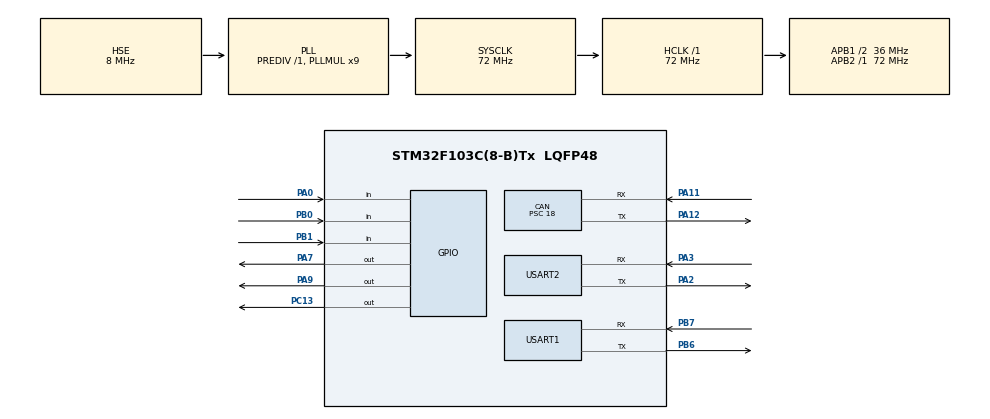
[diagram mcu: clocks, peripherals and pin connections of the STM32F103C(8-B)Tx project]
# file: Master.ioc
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CAN.ABOM=ENABLE
CAN.AWUM=ENABLE
CAN.BS1=CAN_BS1_13TQ
CAN.BS2=CAN_BS2_2TQ
CAN.CalculateTimeBit=1500
CAN.CalculateTimeQuantum=500.0
CAN.NART=ENABLE
CAN.Prescaler=18
Dma.Request0=USART1_RX
Dma.Request1=USART2_RX
Dma.USART1_RX.0.Direction=DMA_PERIPH_TO_MEMORY
Dma.USART1_RX.0.Instance=DMA1_Channel5
Dma.USART1_RX.0.MemDataAlignment=DMA_MDATAALIGN_BYTE
Dma.USART1_RX.0.MemInc=DMA_MINC_ENABLE
Dma.USART1_RX.0.Mode=DMA_CIRCULAR
Dma.USART1_RX.0.PeriphDataAlignment=DMA_PDATAALIGN_BYTE
Dma.USART1_RX.0.PeriphInc=DMA_PINC_DISABLE
Dma.USART1_RX.0.Priority=DMA_PRIORITY_MEDIUM
Dma.USART2_RX.1.Direction=DMA_PERIPH_TO_MEMORY
Dma.USART2_RX.1.Instance=DMA1_Channel6
Dma.USART2_RX.1.MemDataAlignment=DMA_MDATAALIGN_BYTE
Dma.USART2_RX.1.MemInc=DMA_MINC_ENABLE
Dma.USART2_RX.1.Mode=DMA_CIRCULAR
Dma.USART2_RX.1.PeriphDataAlignment=DMA_PDATAALIGN_BYTE
Dma.USART2_RX.1.PeriphInc=DMA_PINC_DISABLE
Dma.USART2_RX.1.Priority=DMA_PRIORITY_LOW
FREERTOS.Tasks01=defaultTask,0,128,StartDefaultTask,Default,NULL
Mcu.Family=STM32F1
Mcu.Name=STM32F103C(8-B)Tx
Mcu.Package=LQFP48
Mcu.UserConstants=PWM_FREQUENCY,6000
NVIC.CAN1_RX1_IRQn=true\:5\:0\:false\:false\:true\:true\:true
NVIC.DMA1_Channel5_IRQn=true\:5\:0\:false\:false\:true\:true\:false
NVIC.DMA1_Channel6_IRQn=true\:5\:0\:false\:false\:true\:true\:false
NVIC.PriorityGroup=NVIC_PRIORITYGROUP_4
NVIC.TIM2_IRQn=true\:0\:0\:false\:false\:true\:false\:false
NVIC.TimeBase=TIM2_IRQn
NVIC.TimeBaseIP=TIM2
NVIC.USB_HP_CAN1_TX_IRQn=true\:5\:0\:false\:false\:true\:true\:true
NVIC.USB_LP_CAN1_RX0_IRQn=true\:5\:0\:false\:false\:true\:true\:true
PA0-WKUP.GPIO_PuPd=GPIO_PULLDOWN
PA0-WKUP.Signal=GPIO_Input
PA11.Mode=Master
PA11.Signal=CAN_RX
PA12.Mode=Master
PA12.Signal=CAN_TX
PA13.Mode=Serial_Wire
PA13.Signal=SYS_JTMS-SWDIO
PA14.Mode=Serial_Wire
PA14.Signal=SYS_JTCK-SWCLK
PA2.Mode=Asynchronous
PA2.Signal=USART2_TX
PA3.Mode=Asynchronous
PA3.Signal=USART2_RX
PA7.Signal=GPIO_Output
PA9.GPIO_ModeDefaultOutputPP=GPIO_MODE_OUTPUT_PP
PA9.GPIO_PuPd=GPIO_NOPULL
PA9.PinState=GPIO_PIN_SET
PA9.Signal=GPIO_Output
PB0.GPIO_PuPd=GPIO_PULLUP
PB0.Signal=GPIO_Input
PB1.GPIO_PuPd=GPIO_PULLUP
PB1.Signal=GPIO_Input
PB6.Mode=Asynchronous
PB6.Signal=USART1_TX
PB7.Mode=Asynchronous
PB7.Signal=USART1_RX
PC13-TAMPER-RTC.Signal=GPIO_Output
PD0-OSC_IN.Mode=HSE-External-Oscillator
PD0-OSC_IN.Signal=RCC_OSC_IN
PD1-OSC_OUT.Mode=HSE-External-Oscillator
PD1-OSC_OUT.Signal=RCC_OSC_OUT
ProjectManager.HeapSize=0x200
ProjectManager.StackSize=0x400
ProjectManager.TargetToolchain=EWARM
RCC.AHBFreq_Value=72000000
RCC.APB1CLKDivider=RCC_HCLK_DIV2
RCC.APB1Freq_Value=36000000
RCC.APB1TimFreq_Value=72000000
RCC.APB2Freq_Value=72000000
RCC.APB2TimFreq_Value=72000000
RCC.HCLKFreq_Value=72000000
RCC.PLLMUL=RCC_PLL_MUL9
RCC.PLLSourceVirtual=RCC_PLLSOURCE_HSE
RCC.SYSCLKFreq_VALUE=72000000
RCC.SYSCLKSource=RCC_SYSCLKSOURCE_PLLCLK
RCC.USBFreq_Value=72000000
USART1.VirtualMode=VM_ASYNC
USART2.VirtualMode=VM_ASYNC
VP_FREERTOS_VS_ENABLE.Mode=Enabled
VP_SYS_VS_tim2.Mode=TIM2
board=custom

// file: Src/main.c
/**
  ******************************************************************************
  * @file           : main.c
  * @brief          : Main program body
  ******************************************************************************
  * This notice applies to any and all portions of this file
  * that are not between comment pairs USER CODE BEGIN and
  * USER CODE END. Other portions of this file, whether
  * inserted by the user or by software development tools
  * are owned by their respective copyright owners.
  *
  * Copyright (c) 2018 STMicroelectronics International N.V.
  * All rights reserved.
  *
  * Redistribution and use in source and binary forms, with or without
  * modification, are permitted, provided that the following conditions are met:
  *
  * 1. Redistribution of source code must retain the above copyright notice,
  *    this list of conditions and the following disclaimer.
  * 2. Redistributions in binary form must reproduce the above copyright notice,
  *    this list of conditions and the following disclaimer in the documentation
  *    and/or other materials provided with the distribution.
  * 3. Neither the name of STMicroelectronics nor the names of other
  *    contributors to this software may be used to endorse or promote products
  *    derived from this software without specific written permission.
  * 4. This software, including modifications and/or derivative works of this
  *    software, must execute solely and exclusively on microcontroller or
  *    microprocessor devices manufactured by or for STMicroelectronics.
  * 5. Redistribution and use of this software other than as permitted under
  *    this license is void and will automatically terminate your rights under
  *    this license.
  *
  * THIS SOFTWARE IS PROVIDED BY STMICROELECTRONICS AND CONTRIBUTORS "AS IS"
  * AND ANY EXPRESS, IMPLIED OR STATUTORY WARRANTIES, INCLUDING, BUT NOT
  * LIMITED TO, THE IMPLIED WARRANTIES OF MERCHANTABILITY, FITNESS FOR A
  * PARTICULAR PURPOSE AND NON-INFRINGEMENT OF THIRD PARTY INTELLECTUAL PROPERTY
  * RIGHTS ARE DISCLAIMED TO THE FULLEST EXTENT PERMITTED BY LAW. IN NO EVENT
  * SHALL STMICROELECTRONICS OR CONTRIBUTORS BE LIABLE FOR ANY DIRECT, INDIRECT,
  * INCIDENTAL, SPECIAL, EXEMPLARY, OR CONSEQUENTIAL DAMAGES (INCLUDING, BUT NOT
  * LIMITED TO, PROCUREMENT OF SUBSTITUTE GOODS OR SERVICES; LOSS OF USE, DATA,
  * OR PROFITS; OR BUSINESS INTERRUPTION) HOWEVER CAUSED AND ON ANY THEORY OF
  * LIABILITY, WHETHER IN CONTRACT, STRICT LIABILITY, OR TORT (INCLUDING
  * NEGLIGENCE OR OTHERWISE) ARISING IN ANY WAY OUT OF THE USE OF THIS SOFTWARE,
  * EVEN IF ADVISED OF THE POSSIBILITY OF SUCH DAMAGE.
  *
  ******************************************************************************
  */
#include "main.h"
#include "stm32f1xx_hal.h"
#include "cmsis_os.h"

/* USER CODE BEGIN Includes */
#include "control.h"
/* USER CODE END Includes */

CAN_HandleTypeDef hcan;

UART_HandleTypeDef huart1;
UART_HandleTypeDef huart2;
DMA_HandleTypeDef hdma_usart1_rx;
DMA_HandleTypeDef hdma_usart2_rx;

osThreadId defaultTaskHandle;

/* USER CODE BEGIN PV */
/* Private variables ---------------------------------------------------------*/
Master_TypeDef Master;
/* USER CODE END PV */

void SystemClock_Config(void);
static void MX_GPIO_Init(void);
static void MX_DMA_Init(void);
static void MX_CAN_Init(void);
static void MX_USART1_UART_Init(void);
static void MX_USART2_UART_Init(void);
void StartDefaultTask(void const * argument);

/* USER CODE BEGIN PFP */
/* Private function prototypes -----------------------------------------------*/
static void CAN_Filter_Init(void);
/* USER CODE END PFP */

int main(void)
{

  /* MCU Configuration----------------------------------------------------------*/

  /* Reset of all peripherals, Initializes the Flash interface and the Systick. */
  HAL_Init();

  /* Configure the system clock */
  SystemClock_Config();

  /* Initialize all configured peripherals */
  MX_GPIO_Init();
  MX_DMA_Init();
  MX_CAN_Init();
  MX_USART1_UART_Init();
  MX_USART2_UART_Init();
  /* USER CODE BEGIN 2 */
  CAN_Filter_Init();
  Master_init(&Master);
  HAL_CAN_Receive_IT(&hcan, CAN_FIFO0);
  /* USER CODE END 2 */

  /* Create the thread(s) */
  /* definition and creation of defaultTask */
  osThreadDef(defaultTask, StartDefaultTask, osPriorityNormal, 0, 128);
  defaultTaskHandle = osThreadCreate(osThread(defaultTask), NULL);

  /* Start scheduler */
  osKernelStart();

  /* We should never get here as control is now taken by the scheduler */

  /* Infinite loop */
  while (1)
  {

  }

}

void SystemClock_Config(void)
{

  RCC_OscInitTypeDef RCC_OscInitStruct;
  RCC_ClkInitTypeDef RCC_ClkInitStruct;

    /**Initializes the CPU, AHB and APB busses clocks
    */
  RCC_OscInitStruct.OscillatorType = RCC_OSCILLATORTYPE_HSE;
  RCC_OscInitStruct.HSEState = RCC_HSE_ON;
  RCC_OscInitStruct.HSEPredivValue = RCC_HSE_PREDIV_DIV1;
  RCC_OscInitStruct.HSIState = RCC_HSI_ON;
  RCC_OscInitStruct.PLL.PLLState = RCC_PLL_ON;
  RCC_OscInitStruct.PLL.PLLSource = RCC_PLLSOURCE_HSE;
  RCC_OscInitStruct.PLL.PLLMUL = RCC_PLL_MUL9;
  if (HAL_RCC_OscConfig(&RCC_OscInitStruct) != HAL_OK)
  {
    _Error_Handler(__FILE__, __LINE__);
  }

    /**Initializes the CPU, AHB and APB busses clocks
    */
  RCC_ClkInitStruct.ClockType = RCC_CLOCKTYPE_HCLK|RCC_CLOCKTYPE_SYSCLK
                              |RCC_CLOCKTYPE_PCLK1|RCC_CLOCKTYPE_PCLK2;
  RCC_ClkInitStruct.SYSCLKSource = RCC_SYSCLKSOURCE_PLLCLK;
  RCC_ClkInitStruct.AHBCLKDivider = RCC_SYSCLK_DIV1;
  RCC_ClkInitStruct.APB1CLKDivider = RCC_HCLK_DIV2;
  RCC_ClkInitStruct.APB2CLKDivider = RCC_HCLK_DIV1;

  if (HAL_RCC_ClockConfig(&RCC_ClkInitStruct, FLASH_LATENCY_2) != HAL_OK)
  {
    _Error_Handler(__FILE__, __LINE__);
  }

    /**Configure the Systick interrupt time
    */
  HAL_SYSTICK_Config(HAL_RCC_GetHCLKFreq()/1000);

    /**Configure the Systick
    */
  HAL_SYSTICK_CLKSourceConfig(SYSTICK_CLKSOURCE_HCLK);

  /* SysTick_IRQn interrupt configuration */
  HAL_NVIC_SetPriority(SysTick_IRQn, 15, 0);
}

/* CAN init function */
static void MX_CAN_Init(void)
{

  hcan.Instance = CAN1;
  hcan.Init.Prescaler = 18;
  hcan.Init.Mode = CAN_MODE_NORMAL;
  hcan.Init.SJW = CAN_SJW_1TQ;
  hcan.Init.BS1 = CAN_BS1_13TQ;
  hcan.Init.BS2 = CAN_BS2_2TQ;
  hcan.Init.TTCM = DISABLE;
  hcan.Init.ABOM = ENABLE;
  hcan.Init.AWUM = ENABLE;
  hcan.Init.NART = ENABLE;
  hcan.Init.RFLM = DISABLE;
  hcan.Init.TXFP = DISABLE;
  if (HAL_CAN_Init(&hcan) != HAL_OK)
  {
    _Error_Handler(__FILE__, __LINE__);
  }

}

/* USART1 init function */
static void MX_USART1_UART_Init(void)
{

  huart1.Instance = USART1;
  huart1.Init.BaudRate = 115200;
  huart1.Init.WordLength = UART_WORDLENGTH_8B;
  huart1.Init.StopBits = UART_STOPBITS_1;
  huart1.Init.Parity = UART_PARITY_NONE;
  huart1.Init.Mode = UART_MODE_TX_RX;
  huart1.Init.HwFlowCtl = UART_HWCONTROL_NONE;
  huart1.Init.OverSampling = UART_OVERSAMPLING_16;
  if (HAL_UART_Init(&huart1) != HAL_OK)
  {
    _Error_Handler(__FILE__, __LINE__);
  }

}

/* USART2 init function */
static void MX_USART2_UART_Init(void)
{

  huart2.Instance = USART2;
  huart2.Init.BaudRate = 115200;
  huart2.Init.WordLength = UART_WORDLENGTH_8B;
  huart2.Init.StopBits = UART_STOPBITS_1;
  huart2.Init.Parity = UART_PARITY_NONE;
  huart2.Init.Mode = UART_MODE_TX_RX;
  huart2.Init.HwFlowCtl = UART_HWCONTROL_NONE;
  huart2.Init.OverSampling = UART_OVERSAMPLING_16;
  if (HAL_UART_Init(&huart2) != HAL_OK)
  {
    _Error_Handler(__FILE__, __LINE__);
  }

}

static void MX_DMA_Init(void)
{
  /* DMA controller clock enable */
  __HAL_RCC_DMA1_CLK_ENABLE();

  /* DMA interrupt init */
  /* DMA1_Channel5_IRQn interrupt configuration */
  HAL_NVIC_SetPriority(DMA1_Channel5_IRQn, 5, 0);
  HAL_NVIC_EnableIRQ(DMA1_Channel5_IRQn);
  /* DMA1_Channel6_IRQn interrupt configuration */
  HAL_NVIC_SetPriority(DMA1_Channel6_IRQn, 5, 0);
  HAL_NVIC_EnableIRQ(DMA1_Channel6_IRQn);

}

/** Configure pins as
        * Analog
        * Input
        * Output
        * EVENT_OUT
        * EXTI
*/
static void MX_GPIO_Init(void)
{

  GPIO_InitTypeDef GPIO_InitStruct;

  /* GPIO Ports Clock Enable */
  __HAL_RCC_GPIOC_CLK_ENABLE();
  __HAL_RCC_GPIOD_CLK_ENABLE();
  __HAL_RCC_GPIOA_CLK_ENABLE();
  __HAL_RCC_GPIOB_CLK_ENABLE();

  /*Configure GPIO pin Output Level */
  HAL_GPIO_WritePin(GPIOC, GPIO_PIN_13, GPIO_PIN_RESET);

  /*Configure GPIO pin Output Level */
  HAL_GPIO_WritePin(GPIOA, GPIO_PIN_7, GPIO_PIN_RESET);

  /*Configure GPIO pin Output Level */
  HAL_GPIO_WritePin(GPIOA, GPIO_PIN_9, GPIO_PIN_SET);

  /*Configure GPIO pin : PC13 */
  GPIO_InitStruct.Pin = GPIO_PIN_13;
  GPIO_InitStruct.Mode = GPIO_MODE_OUTPUT_PP;
  GPIO_InitStruct.Pull = GPIO_NOPULL;
  GPIO_InitStruct.Speed = GPIO_SPEED_FREQ_LOW;
  HAL_GPIO_Init(GPIOC, &GPIO_InitStruct);

  /*Configure GPIO pin : PA0 */
  GPIO_InitStruct.Pin = GPIO_PIN_0;
  GPIO_InitStruct.Mode = GPIO_MODE_INPUT;
  GPIO_InitStruct.Pull = GPIO_PULLDOWN;
  HAL_GPIO_Init(GPIOA, &GPIO_InitStruct);

  /*Configure GPIO pins : PA7 PA9 */
  GPIO_InitStruct.Pin = GPIO_PIN_7|GPIO_PIN_9;
  GPIO_InitStruct.Mode = GPIO_MODE_OUTPUT_PP;
  GPIO_InitStruct.Pull = GPIO_NOPULL;
  GPIO_InitStruct.Speed = GPIO_SPEED_FREQ_LOW;
  HAL_GPIO_Init(GPIOA, &GPIO_InitStruct);

  /*Configure GPIO pins : PB0 PB1 */
  GPIO_InitStruct.Pin = GPIO_PIN_0|GPIO_PIN_1;
  GPIO_InitStruct.Mode = GPIO_MODE_INPUT;
  GPIO_InitStruct.Pull = GPIO_PULLUP;
  HAL_GPIO_Init(GPIOB, &GPIO_InitStruct);

}

/* USER CODE BEGIN 4 */
CanTxMsgTypeDef txmsg;
CanRxMsgTypeDef rxmsg;
static void CAN_Filter_Init(void)
{
  hcan.pTxMsg = &txmsg;
  hcan.pTxMsg->ExtId = 1;
  hcan.pTxMsg->DLC = 8;
  hcan.pTxMsg->IDE = CAN_ID_EXT;
  hcan.pTxMsg->RTR = CAN_RTR_DATA;

  hcan.pRxMsg = &rxmsg;
  hcan.pRxMsg->ExtId = 1;
  hcan.pRxMsg->DLC = 8;
  hcan.pRxMsg->IDE = CAN_ID_EXT;
  hcan.pRxMsg->RTR = CAN_RTR_DATA;

  CAN_FilterConfTypeDef  sFilterConfig;

  sFilterConfig.FilterNumber = 0;                       //使用过滤器0
  sFilterConfig.FilterMode = CAN_FILTERMODE_IDMASK;     //掩码模式
  sFilterConfig.FilterScale = CAN_FILTERSCALE_32BIT;    //配置为32位宽
  sFilterConfig.FilterIdHigh = 0;
  sFilterConfig.FilterIdLow = 0|CAN_ID_STD;             //设置IDE位为0
  sFilterConfig.FilterMaskIdHigh = 0x00;
  sFilterConfig.FilterMaskIdLow = 0x00;                 //全部为0，所有的ID都能通过，不过滤
  sFilterConfig.FilterFIFOAssignment = 0;               //接收到的报文放入到FIFO0中
  sFilterConfig.FilterActivation = ENABLE;
  sFilterConfig.BankNumber = 14;

  HAL_CAN_ConfigFilter(&hcan, &sFilterConfig);

  return;
}

uint8_t  cell_row = 1;
uint8_t  cell_col = 2;
uint8_t  goods_count = 3;
uint8_t  deliverEn = 0;
/* USER CODE END 4 */

/* StartDefaultTask function */
void StartDefaultTask(void const * argument)
{

  /* USER CODE BEGIN 5 */
  static int reEn = 1;

  /* Infinite loop */
  for(;;)
  {
    if(reEn)
    {
      reEn = 0;
      HAL_GPIO_WritePin(GPIOA, GPIO_PIN_7, GPIO_PIN_SET);
      AllocatingIdAndAddr(&Master);
      HAL_GPIO_WritePin(GPIOA, GPIO_PIN_7, GPIO_PIN_RESET);
    }

    if(deliverEn)
    {
      deliverEn = 0;
      Deliver(cell_row, cell_col, goods_count);
    }
  }
  /* USER CODE END 5 */
}

void HAL_TIM_PeriodElapsedCallback(TIM_HandleTypeDef *htim)
{
  if (htim->Instance == TIM2) {
    HAL_IncTick();
  }
}

void _Error_Handler(char *file, int line)
{
  while(1)
  {
  }
}

/************************ (C) COPYRIGHT STMicroelectronics *****END OF FILE****/
